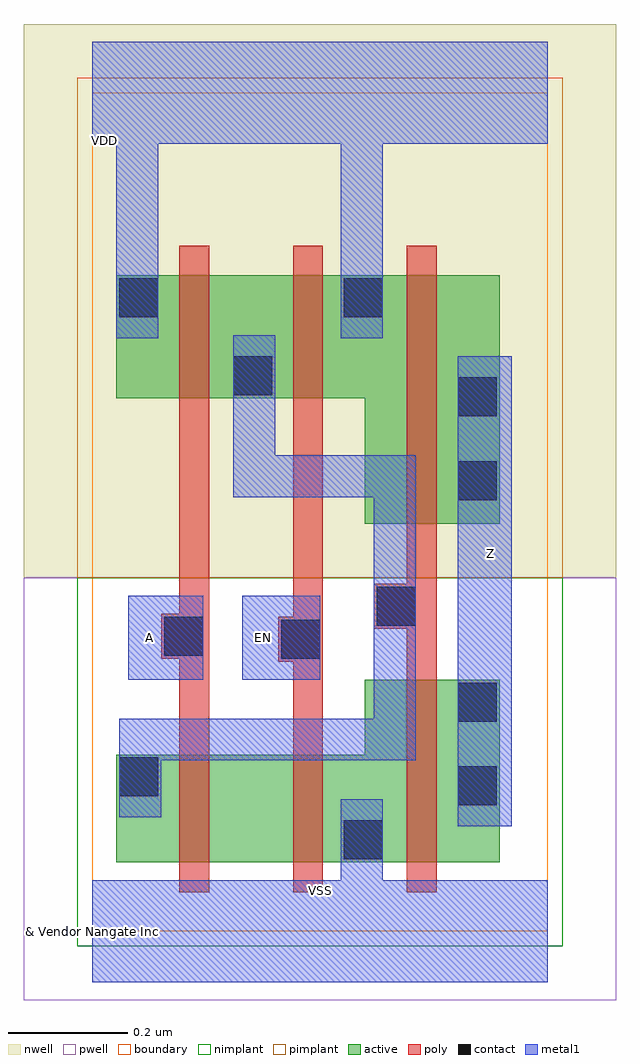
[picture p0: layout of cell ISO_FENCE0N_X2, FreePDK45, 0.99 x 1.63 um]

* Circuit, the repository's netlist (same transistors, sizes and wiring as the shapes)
* 
* ******************************************************************************
* *                                                                            *
* *                   Copyright (C) 2004-2011, Nangate Inc.                    *
* *                           All rights reserved.                             *
* *                                                                            *
* * Nangate and the Nangate logo are trademarks of Nangate Inc.                *
* *                                                                            *
* * All trademarks, logos, software marks, and trade names (collectively the   *
* * "Marks") in this program are proprietary to Nangate or other respective    *
* * owners that have granted Nangate the right and license to use such Marks.  *
* * You are not permitted to use the Marks without the prior written consent   *
* * of Nangate or such third party that may own the Marks.                     *
* *                                                                            *
* * This file has been provided pursuant to a License Agreement containing     *
* * restrictions on its use. This file contains valuable trade secrets and     *
* * proprietary information of Nangate Inc., and is protected by U.S. and      *
* * international laws and/or treaties.                                        *
* *                                                                            *
* * The copyright notice(s) in this file does not indicate actual or intended  *
* * publication of this file.                                                  *
* *                                                                            *
* *     NGLibraryCreator, v2010.08-HR32-SP3-2010-08-05 - build 1009061800      *
* *                                                                            *
* ******************************************************************************
* 
* 
* Running on server08.nangate.com for user Giancarlo Franciscatto (gfr).
* Local time is now Thu, 6 Jan 2011, 19:45:45.
* Main process id is 3320.
*
********************************************************************************
*                                                                              *
* Cellname:   ISO_FENCE0N_X2.                                                  *
*                                                                              *
* Technology: NCSU FreePDK 45nm.                                               *
* Format:     Cdl.                                                             *
*                                                                              *
* Written on server08.nangate.com for user Giancarlo Franciscatto (gfr)        *
* at 19:45:45 on Thu, 6 Jan 2011.                                              *
*                                                                              *
********************************************************************************
.SUBCKT ISO_FENCE0N_X2 A EN Z VDD VSS 
*.PININFO A:I EN:I Z:O VDD:P VSS:G 
*.EQN Z=(A * EN)
M_i_0 net_001 A net_000 VSS NMOS_VTL W=0.180000U L=0.050000U
M_i_5 VSS EN net_001 VSS NMOS_VTL W=0.180000U L=0.050000U
M_i_11 Z net_000 VSS VSS NMOS_VTL W=0.305000U L=0.050000U
M_i_18 net_000 A VDD VDD PMOS_VTL W=0.205000U L=0.050000U
M_i_25 VDD EN net_000 VDD PMOS_VTL W=0.205000U L=0.050000U
M_i_31 Z net_000 VDD VDD PMOS_VTL W=0.415000U L=0.050000U
.ENDS 

********************************************************************************
*
* END
*
********************************************************************************

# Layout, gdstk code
import gdstk
lib = gdstk.Library(unit=1e-6, precision=1e-10)
def R(c, l, rs):  # rectangles x0, y0, x1, y1
    for r in rs: c.add(gdstk.rectangle(r[:2], r[2:], *l))
def P(c, l, *ps):  # polygons
    for p in ps: c.add(gdstk.Polygon(p, *l))
active = (1, 0)
pwell = (2, 0)
nwell = (3, 0)
nimplant = (4, 0)
pimplant = (5, 0)
poly = (9, 0)
contact = (10, 0)
metal1 = (11, 0)
boundary = (235, 0)

iso_fence0n_x2 = lib.new_cell('ISO_FENCE0N_X2')
P(iso_fence0n_x2, active, [(0.04,0.115),(0.68,0.115),(0.68,0.42),(0.455,0.42),(0.455,0.295),(0.04,0.295)],
  [(0.04,0.89),(0.455,0.89),(0.455,0.68),(0.68,0.68),(0.68,1.095),(0.04,1.095)])
R(iso_fence0n_x2, pwell, [(-0.115,-0.115,0.875,0.59)])
R(iso_fence0n_x2, nwell, [(-0.115,0.59,0.875,1.515)])
R(iso_fence0n_x2, nimplant, [(-0.025,-0.025,0.785,0.59)])
R(iso_fence0n_x2, pimplant, [(-0.025,0.59,0.785,1.425)])
P(iso_fence0n_x2, poly, [(0.115,0.455),(0.145,0.455),(0.145,0.065),(0.195,0.065),(0.195,1.145),(0.145,1.145),(0.145,0.53),(0.115,0.53)],
  [(0.31,0.45),(0.335,0.45),(0.335,0.065),(0.385,0.065),(0.385,1.145),(0.335,1.145),(0.335,0.525),(0.31,0.525)],
  [(0.47,0.505),(0.525,0.505),(0.525,0.065),(0.575,0.065),(0.575,1.145),(0.525,1.145),(0.525,0.58),(0.47,0.58)])
R(iso_fence0n_x2, contact, [(0.42,0.12,0.485,0.185), (0.61,0.21,0.675,0.275), (0.045,0.225,0.11,0.29), (0.61,0.35,0.675,0.415), (0.315,0.455,0.38,0.52), (0.12,0.46,0.185,0.525), (0.475,0.51,0.54,0.575), (0.61,0.72,0.675,0.785), (0.61,0.86,0.675,0.925), (0.235,0.895,0.3,0.96), (0.045,1.025,0.11,1.09), (0.42,1.025,0.485,1.09)])
R(iso_fence0n_x2, metal1, [(0.61,0.175,0.7,0.96), (0.06,0.42,0.185,0.56), (0.25,0.42,0.38,0.56)])
P(iso_fence0n_x2, metal1, [(0,-0.085),(0.76,-0.085),(0.76,0.085),(0.485,0.085),(0.485,0.22),(0.415,0.22),(0.415,0.085),(0,0.085)],
  [(0,1.315),(0.04,1.315),(0.04,0.99),(0.11,0.99),(0.11,1.315),(0.415,1.315),(0.415,0.99),(0.485,0.99),(0.485,1.315),(0.76,1.315),(0.76,1.485),(0,1.485)],
  [(0.235,0.725),(0.47,0.725),(0.47,0.355),(0.045,0.355),(0.045,0.19),(0.115,0.19),(0.115,0.285),(0.54,0.285),(0.54,0.795),(0.305,0.795),(0.305,0.995),(0.235,0.995)])
R(iso_fence0n_x2, boundary, [(0,0,0.76,1.4)])
iso_fence0n_x2.add(gdstk.Label('A', (0.095,0.49), layer=11, texttype=0))
iso_fence0n_x2.add(gdstk.Label('EN', (0.285,0.49), layer=11, texttype=0))
iso_fence0n_x2.add(gdstk.Label('VDD', (0.02,1.32), layer=11, texttype=0))
iso_fence0n_x2.add(gdstk.Label('VSS', (0.38,0.0675), layer=11, texttype=0))
iso_fence0n_x2.add(gdstk.Label('Z', (0.665,0.63), layer=11, texttype=0))
iso_fence0n_x2.add(gdstk.Label('& Vendor Nangate Inc', (0,0), layer=63, texttype=63))
iso_fence0n_x2.add(gdstk.Label('& Product Open Cell Library', (0,0), layer=63, texttype=63))
iso_fence0n_x2.add(gdstk.Label('& Version 2010_12', (0,0), layer=63, texttype=63))
iso_fence0n_x2.add(gdstk.Label('& Instance ISO_FENCE0N_X2', (0,0), layer=63, texttype=63))

lib.write_gds('ISO_FENCE0N_X2.gds')
